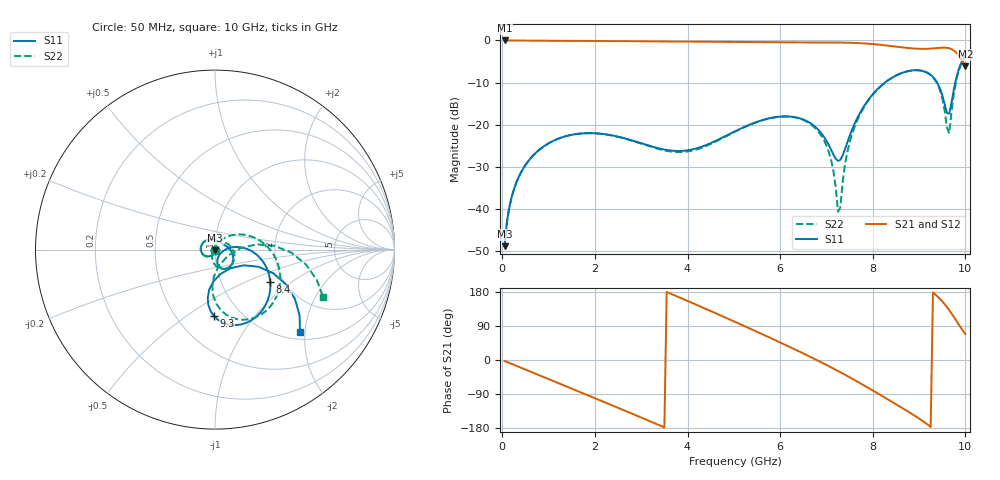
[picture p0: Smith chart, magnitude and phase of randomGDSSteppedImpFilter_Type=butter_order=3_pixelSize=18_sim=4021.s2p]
! freq	dB(S11)	phase(S11)	dB(S12)	phase(S12)
!  dB(S21)	phase(S21)	dB(S22)	phase(S22)
!S-par simulation data
#  GHz  S  DB  R 50
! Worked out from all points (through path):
!   200 points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, 50 MHz to 10 GHz, reference 50 ohm
!   highest |S21| = -0.01 dB at 50 MHz (marker M1); lowest = -6.1 dB at 10 GHz (marker M2)
!   group delay of S21, straight-line fit = 164 ps
!   lowest |S11| = -48.7 dB at 50 MHz (marker M3), VSWR 1.01, Z = 50 - j0.366 ohm
!   |S11| at or under -10 dB: start of sweep to 8.261 GHz; 9.389 GHz to 9.782 GHz (393.4 MHz wide, 4.1 % of centre)
!   |S22| runs from -48.7 to -3.7 dB; largest |S21 - S12| = 0
!   S11 on the Smith chart (normalised r, x): 50 MHz: 1.00, -0.01; 8.4 GHz: 1.70, -0.71; 9.3 GHz: 0.75, -0.64; 10 GHz: 1.15, -1.88
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0.05  -48.74 -88.2  -0.01 -2.6  -0.01 -2.6  -48.74 -88.2
0.2  -37.21 -98.7  -0.02 -10.2  -0.02 -10.2  -37.21 -98.5
0.5  -29.52 -115.7  -0.04 -25.3  -0.04 -25.3  -29.52 -115.0
1.75  -22.00 178.4  -0.13 -88.1  -0.13 -88.1  -22.02 -177.9
2.5  -22.80 137.4  -0.17 -126.2  -0.17 -126.2  -22.84 145.6
3.4  -25.62 83.5  -0.23 -172.6  -0.23 -172.6  -25.80 103.5
4.15  -25.70 40.3  -0.29 147.9  -0.29 147.9  -25.97 67.0
5.05  -21.40 -0.9  -0.37 99.4  -0.37 99.4  -21.48 16.3
5.8  -18.37 -35.6  -0.44 57.7  -0.44 57.7  -18.39 -27.5
6.7  -19.95 -75.5  -0.49 5.4  -0.49 5.4  -20.20 -82.6
7.05  -24.80 -76.5  -0.49 -16.2  -0.49 -16.2  -26.41 -109.3
7.15  -27.04 -65.7  -0.49 -22.6  -0.49 -22.6  -30.93 -122.3
7.25  -28.55 -42.0  -0.50 -29.0  -0.50 -29.0  -40.56 -171.3
7.45  -24.17 1.9  -0.54 -42.2  -0.54 -42.2  -26.43 63.2
7.6  -19.93 7.7  -0.59 -52.4  -0.59 -52.4  -20.70 48.4
8.35  -9.29 -27.3  -1.27 -105.7  -1.27 -105.7  -9.31 -8.5
8.4  -8.94 -30.5  -1.33 -109.4  -1.33 -109.4  -8.95 -12.2
9.3  -8.65 -91.1  -1.90 178.4  -1.90 178.4  -8.73 -80.5
9.5  -12.94 -98.2  -1.72 154.8  -1.72 154.8  -13.62 -94.2
9.65  -17.37 -49.5  -1.86 131.7  -1.86 131.7  -22.03 -26.5
9.8  -9.10 -22.1  -2.86 104.3  -2.86 104.3  -9.61 3.7
10  -3.59 -44.3  -6.09 68.5  -6.09 68.5  -3.65 -23.6
